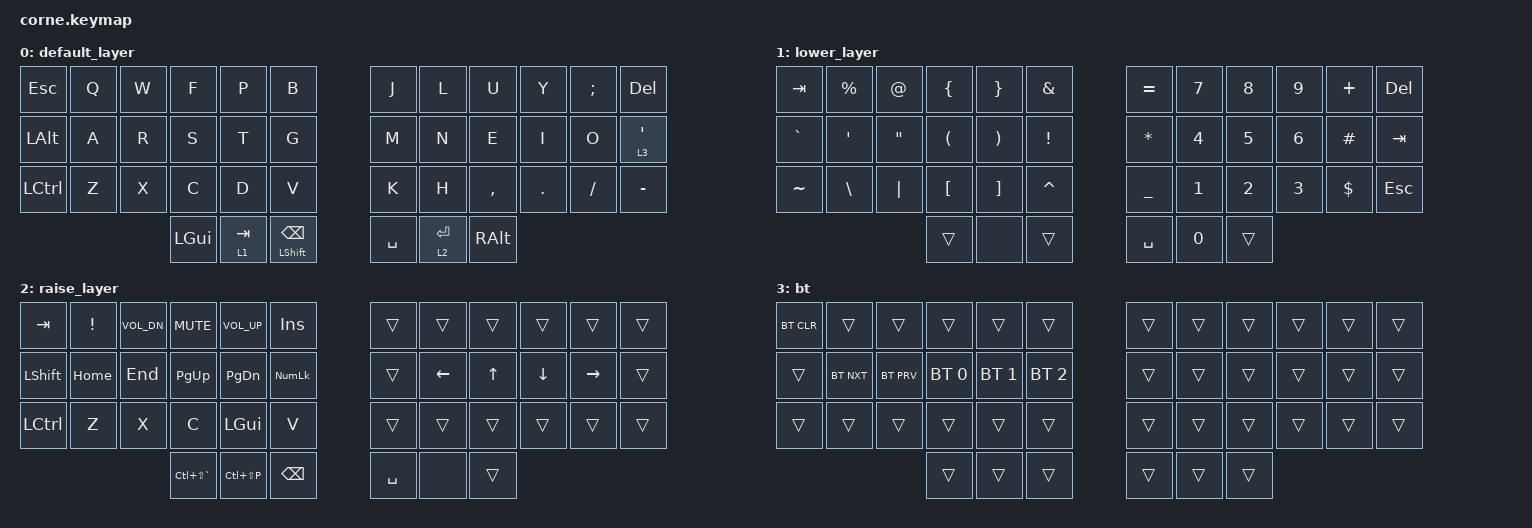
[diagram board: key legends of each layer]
/*
 * Copyright (c) 2020 The ZMK Contributors
 *
 * SPDX-License-Identifier: MIT
 */

#include <behaviors.dtsi>
#include <dt-bindings/zmk/keys.h>
#include <dt-bindings/zmk/bt.h>

/ {
    combos {
        compatible = "zmk,combos";

        mins_combo {
            bindings = <&kp MINUS>;
            key-positions = <5 6>;
        };

        unds_combo {
            bindings = <&kp UNDER>;
            key-positions = <4 7>;
        };

        squote_combo {
            bindings = <&kp SINGLE_QUOTE>;
            key-positions = <16 19>;
        };

        dquo_combo {
            bindings = <&kp DOUBLE_QUOTES>;
            key-positions = <17 18>;
        };

        less_combo {
            bindings = <&kp LESS_THAN>;
            key-positions = <28 31>;
        };

        great_combo {
            bindings = <&kp GREATER_THAN>;
            key-positions = <29 30>;
        };
    };

    keymap {
        compatible = "zmk,keymap";

        default_layer {
            // -----------------------------------------------------------------------------------------
            // |  TAB |  Q  |  W  |  E  |  R  |  T  |   |  Y  |  U   |  I  |  O  |  P  | BKSP |
            // | CTRL |  A  |  S  |  D  |  F  |  G  |   |  H  |  J   |  K  |  L  |  ;  |  '   |
            // | SHFT |  Z  |  X  |  C  |  V  |  B  |   |  N  |  M   |  ,  |  .  |  /  | ESC  |
            //                    | GUI | LWR | SPC |   | ENT | RSE  | ALT |

            bindings = <
     &kp ESC  &kp Q  &kp W         &kp F      &kp P                     &kp B      &kp J        &kp L      &kp U    &kp Y  &kp SEMI             &kp DEL
&kp LEFT_ALT  &kp A  &kp R         &kp S      &kp T                     &kp G      &kp M        &kp N      &kp E    &kp I     &kp O  &lt 3 SINGLE_QUOTE
   &kp LCTRL  &kp Z  &kp X         &kp C      &kp D                     &kp V      &kp K        &kp H  &kp COMMA  &kp DOT  &kp FSLH           &kp MINUS
                            &kp LEFT_GUI  &lt 1 TAB  &mt LEFT_SHIFT BACKSPACE  &kp SPACE  &lt 2 ENTER   &kp RALT
            >;
        };

        lower_layer {
            // -----------------------------------------------------------------------------------------
            // |  TAB |  1  |  2  |  3  |  4  |  5  |   |  6  |  7  |  8  |  9  |  0  | BKSP |
            // | BTCLR| BT1 | BT2 | BT3 | BT4 | BT5 |   | LFT | DWN |  UP | RGT |     |      |
            // | SHFT |     |     |     |     |     |   |     |     |     |     |     |      |
            //                    | GUI |     | SPC |   | ENT |     | ALT |

            bindings = <
  &kp TAB       &kp PERCENT             &kp AT        &kp LEFT_BRACE        &kp RIGHT_BRACE   &kp AMPS  &kp EQUAL  &kp N7  &kp N8  &kp N9    &kp PLUS  &kp DEL
&kp GRAVE  &kp SINGLE_QUOTE  &kp DOUBLE_QUOTES  &kp LEFT_PARENTHESIS  &kp RIGHT_PARENTHESIS   &kp EXCL  &kp ASTRK  &kp N4  &kp N5  &kp N6    &kp HASH  &kp TAB
&kp TILDE          &kp BSLH           &kp PIPE      &kp LEFT_BRACKET      &kp RIGHT_BRACKET  &kp CARET  &kp UNDER  &kp N1  &kp N2  &kp N3  &kp DOLLAR  &kp ESC
                                                              &trans                  &none     &trans  &kp SPACE  &kp N0  &trans
            >;
        };

        raise_layer {
            // -----------------------------------------------------------------------------------------
            // |  TAB |  !  |  @  |  #  |  $  |  %  |   |  ^  |  &  |  *  |  (  |  )  | BKSP |
            // | CTRL |     |     |     |     |     |   |  -  |  =  |  [  |  ]  |  \  |  `   |
            // | SHFT |     |     |     |     |     |   |  _  |  +  |  {  |  }  | "|" |  ~   |
            //                    | GUI |     | SPC |   | ENT |     | ALT |

            bindings = <
       &kp TAB  &kp EXCL  &kp K_VOL_DN         &kp K_MUTE   &kp K_VOL_UP        &kp INS     &trans    &trans  &trans    &trans     &trans  &trans
&kp LEFT_SHIFT  &kp HOME       &kp END          &kp PG_UP      &kp PG_DN     &kp KP_NUM     &trans  &kp LEFT  &kp UP  &kp DOWN  &kp RIGHT  &trans
     &kp LCTRL     &kp Z         &kp X              &kp C   &kp LEFT_GUI          &kp V     &trans    &trans  &trans    &trans     &trans  &trans
                                        &kp LC(LS(GRAVE))  &kp LC(LS(P))  &kp BACKSPACE  &kp SPACE     &none  &trans
            >;
        };

        bt {
            bindings = <
&bt BT_CLR      &trans      &trans        &trans        &trans        &trans  &trans  &trans  &trans  &trans  &trans  &trans
    &trans  &bt BT_NXT  &bt BT_PRV  &bt BT_SEL 0  &bt BT_SEL 1  &bt BT_SEL 2  &trans  &trans  &trans  &trans  &trans  &trans
    &trans      &trans      &trans        &trans        &trans        &trans  &trans  &trans  &trans  &trans  &trans  &trans
                                          &trans        &trans        &trans  &trans  &trans  &trans
            >;
        };
    };
};
